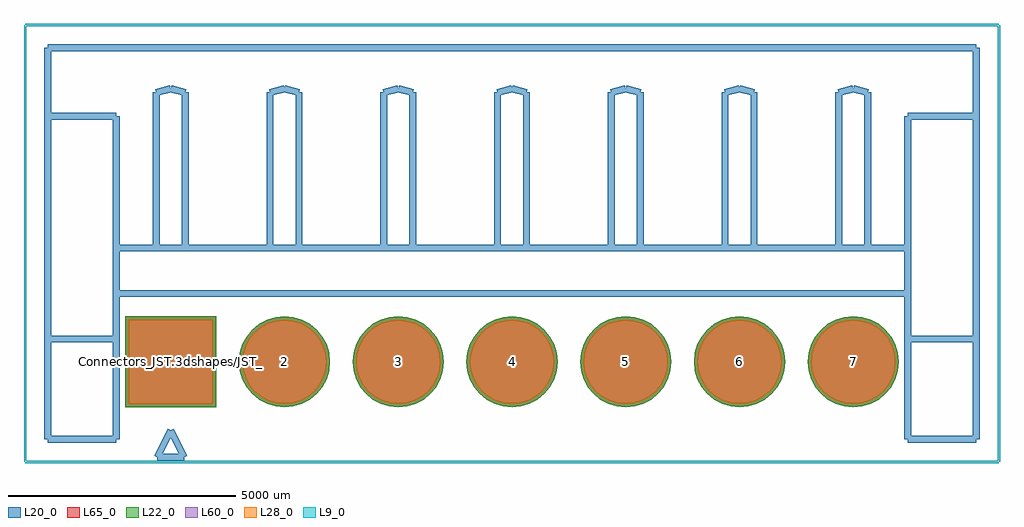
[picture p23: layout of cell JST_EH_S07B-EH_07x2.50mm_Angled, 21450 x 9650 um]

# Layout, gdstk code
import gdstk
lib = gdstk.Library(unit=1e-6, precision=1e-09)
def R(c, l, rs):  # rectangles x0, y0, x1, y1
    for r in rs: c.add(gdstk.rectangle(r[:2], r[2:], *l))
def P(c, l, *ps):  # polygons
    for p in ps: c.add(gdstk.Polygon(p, *l))
L9_0 = (9, 0)
L20_0 = (20, 0)
L22_0 = (22, 0)
L28_0 = (28, 0)
L60_0 = (60, 0)
L65_0 = (65, 0)

jst_eh_s07b_eh_07x2_50mm = lib.new_cell('JST_EH_S07B-EH_07x2.50mm_Angled')
R(jst_eh_s07b_eh_07x2_50mm, L22_0, [(-1000,-1000,1000,1000)])
P(jst_eh_s07b_eh_07x2_50mm, L22_0, [(16000,0),(15980.785,195.09),(15923.88,382.683),(15831.47,555.57),(15707.107,707.107),(15555.57,831.47),(15382.683,923.88),(15195.09,980.785),(15000,1000),(14804.91,980.785),(14617.317,923.88),(14444.43,831.47),(14292.893,707.107),(14168.53,555.57),(14076.12,382.683),(14019.215,195.09),(14000,0),(14019.215,-195.09),(14076.12,-382.683),(14168.53,-555.57),(14292.893,-707.107),(14444.43,-831.47),(14617.317,-923.88),(14804.91,-980.785),(15000,-1000),(15195.09,-980.785),(15382.683,-923.88),(15555.57,-831.47),(15707.107,-707.107),(15831.47,-555.57),(15923.88,-382.683),(15980.785,-195.09)],
  [(13500,0),(13480.785,195.09),(13423.88,382.683),(13331.47,555.57),(13207.107,707.107),(13055.57,831.47),(12882.683,923.88),(12695.09,980.785),(12500,1000),(12304.91,980.785),(12117.317,923.88),(11944.43,831.47),(11792.893,707.107),(11668.53,555.57),(11576.12,382.683),(11519.215,195.09),(11500,0),(11519.215,-195.09),(11576.12,-382.683),(11668.53,-555.57),(11792.893,-707.107),(11944.43,-831.47),(12117.317,-923.88),(12304.91,-980.785),(12500,-1000),(12695.09,-980.785),(12882.683,-923.88),(13055.57,-831.47),(13207.107,-707.107),(13331.47,-555.57),(13423.88,-382.683),(13480.785,-195.09)],
  [(11000,0),(10980.785,195.09),(10923.88,382.683),(10831.47,555.57),(10707.107,707.107),(10555.57,831.47),(10382.683,923.88),(10195.09,980.785),(10000,1000),(9804.91,980.785),(9617.317,923.88),(9444.43,831.47),(9292.893,707.107),(9168.53,555.57),(9076.12,382.683),(9019.215,195.09),(9000,0),(9019.215,-195.09),(9076.12,-382.683),(9168.53,-555.57),(9292.893,-707.107),(9444.43,-831.47),(9617.317,-923.88),(9804.91,-980.785),(10000,-1000),(10195.09,-980.785),(10382.683,-923.88),(10555.57,-831.47),(10707.107,-707.107),(10831.47,-555.57),(10923.88,-382.683),(10980.785,-195.09)],
  [(8500,0),(8480.785,195.09),(8423.88,382.683),(8331.47,555.57),(8207.107,707.107),(8055.57,831.47),(7882.683,923.88),(7695.09,980.785),(7500,1000),(7304.91,980.785),(7117.317,923.88),(6944.43,831.47),(6792.893,707.107),(6668.53,555.57),(6576.12,382.683),(6519.215,195.09),(6500,0),(6519.215,-195.09),(6576.12,-382.683),(6668.53,-555.57),(6792.893,-707.107),(6944.43,-831.47),(7117.317,-923.88),(7304.91,-980.785),(7500,-1000),(7695.09,-980.785),(7882.683,-923.88),(8055.57,-831.47),(8207.107,-707.107),(8331.47,-555.57),(8423.88,-382.683),(8480.785,-195.09)],
  [(6000,0),(5980.785,195.09),(5923.88,382.683),(5831.47,555.57),(5707.107,707.107),(5555.57,831.47),(5382.683,923.88),(5195.09,980.785),(5000,1000),(4804.91,980.785),(4617.317,923.88),(4444.43,831.47),(4292.893,707.107),(4168.53,555.57),(4076.12,382.683),(4019.215,195.09),(4000,0),(4019.215,-195.09),(4076.12,-382.683),(4168.53,-555.57),(4292.893,-707.107),(4444.43,-831.47),(4617.317,-923.88),(4804.91,-980.785),(5000,-1000),(5195.09,-980.785),(5382.683,-923.88),(5555.57,-831.47),(5707.107,-707.107),(5831.47,-555.57),(5923.88,-382.683),(5980.785,-195.09)],
  [(3500,0),(3480.785,195.09),(3423.88,382.683),(3331.47,555.57),(3207.107,707.107),(3055.57,831.47),(2882.683,923.88),(2695.09,980.785),(2500,1000),(2304.91,980.785),(2117.317,923.88),(1944.43,831.47),(1792.893,707.107),(1668.53,555.57),(1576.12,382.683),(1519.215,195.09),(1500,0),(1519.215,-195.09),(1576.12,-382.683),(1668.53,-555.57),(1792.893,-707.107),(1944.43,-831.47),(2117.317,-923.88),(2304.91,-980.785),(2500,-1000),(2695.09,-980.785),(2882.683,-923.88),(3055.57,-831.47),(3207.107,-707.107),(3331.47,-555.57),(3423.88,-382.683),(3480.785,-195.09)])
R(jst_eh_s07b_eh_07x2_50mm, L28_0, [(-925,-925,925,925)])
P(jst_eh_s07b_eh_07x2_50mm, L28_0, [(15925,0),(15907.226,180.459),(15854.589,353.982),(15769.109,513.902),(15654.074,654.074),(15513.902,769.109),(15353.982,854.589),(15180.459,907.226),(15000,925),(14819.541,907.226),(14646.018,854.589),(14486.098,769.109),(14345.926,654.074),(14230.891,513.902),(14145.411,353.982),(14092.774,180.459),(14075,0),(14092.774,-180.459),(14145.411,-353.982),(14230.891,-513.902),(14345.926,-654.074),(14486.098,-769.109),(14646.018,-854.589),(14819.541,-907.226),(15000,-925),(15180.459,-907.226),(15353.982,-854.589),(15513.902,-769.109),(15654.074,-654.074),(15769.109,-513.902),(15854.589,-353.982),(15907.226,-180.459)],
  [(13425,0),(13407.226,180.459),(13354.589,353.982),(13269.109,513.902),(13154.074,654.074),(13013.902,769.109),(12853.982,854.589),(12680.459,907.226),(12500,925),(12319.541,907.226),(12146.018,854.589),(11986.098,769.109),(11845.926,654.074),(11730.891,513.902),(11645.411,353.982),(11592.774,180.459),(11575,0),(11592.774,-180.459),(11645.411,-353.982),(11730.891,-513.902),(11845.926,-654.074),(11986.098,-769.109),(12146.018,-854.589),(12319.541,-907.226),(12500,-925),(12680.459,-907.226),(12853.982,-854.589),(13013.902,-769.109),(13154.074,-654.074),(13269.109,-513.902),(13354.589,-353.982),(13407.226,-180.459)],
  [(10925,0),(10907.226,180.459),(10854.589,353.982),(10769.109,513.902),(10654.074,654.074),(10513.902,769.109),(10353.982,854.589),(10180.459,907.226),(10000,925),(9819.541,907.226),(9646.018,854.589),(9486.098,769.109),(9345.926,654.074),(9230.891,513.902),(9145.411,353.982),(9092.774,180.459),(9075,0),(9092.774,-180.459),(9145.411,-353.982),(9230.891,-513.902),(9345.926,-654.074),(9486.098,-769.109),(9646.018,-854.589),(9819.541,-907.226),(10000,-925),(10180.459,-907.226),(10353.982,-854.589),(10513.902,-769.109),(10654.074,-654.074),(10769.109,-513.902),(10854.589,-353.982),(10907.226,-180.459)],
  [(8425,0),(8407.226,180.459),(8354.589,353.982),(8269.109,513.902),(8154.074,654.074),(8013.902,769.109),(7853.982,854.589),(7680.459,907.226),(7500,925),(7319.541,907.226),(7146.018,854.589),(6986.098,769.109),(6845.926,654.074),(6730.891,513.902),(6645.411,353.982),(6592.774,180.459),(6575,0),(6592.774,-180.459),(6645.411,-353.982),(6730.891,-513.902),(6845.926,-654.074),(6986.098,-769.109),(7146.018,-854.589),(7319.541,-907.226),(7500,-925),(7680.459,-907.226),(7853.982,-854.589),(8013.902,-769.109),(8154.074,-654.074),(8269.109,-513.902),(8354.589,-353.982),(8407.226,-180.459)],
  [(5925,0),(5907.226,180.459),(5854.589,353.982),(5769.109,513.902),(5654.074,654.074),(5513.902,769.109),(5353.982,854.589),(5180.459,907.226),(5000,925),(4819.541,907.226),(4646.018,854.589),(4486.098,769.109),(4345.926,654.074),(4230.891,513.902),(4145.411,353.982),(4092.774,180.459),(4075,0),(4092.774,-180.459),(4145.411,-353.982),(4230.891,-513.902),(4345.926,-654.074),(4486.098,-769.109),(4646.018,-854.589),(4819.541,-907.226),(5000,-925),(5180.459,-907.226),(5353.982,-854.589),(5513.902,-769.109),(5654.074,-654.074),(5769.109,-513.902),(5854.589,-353.982),(5907.226,-180.459)],
  [(3425,0),(3407.226,180.459),(3354.589,353.982),(3269.109,513.902),(3154.074,654.074),(3013.902,769.109),(2853.982,854.589),(2680.459,907.226),(2500,925),(2319.541,907.226),(2146.018,854.589),(1986.098,769.109),(1845.926,654.074),(1730.891,513.902),(1645.411,353.982),(1592.774,180.459),(1575,0),(1592.774,-180.459),(1645.411,-353.982),(1730.891,-513.902),(1845.926,-654.074),(1986.098,-769.109),(2146.018,-854.589),(2319.541,-907.226),(2500,-925),(2680.459,-907.226),(2853.982,-854.589),(3013.902,-769.109),(3154.074,-654.074),(3269.109,-513.902),(3354.589,-353.982),(3407.226,-180.459)])
R(jst_eh_s07b_eh_07x2_50mm, L60_0, [(-925,-925,925,925)])
P(jst_eh_s07b_eh_07x2_50mm, L60_0, [(15925,0),(15907.226,180.459),(15854.589,353.982),(15769.109,513.902),(15654.074,654.074),(15513.902,769.109),(15353.982,854.589),(15180.459,907.226),(15000,925),(14819.541,907.226),(14646.018,854.589),(14486.098,769.109),(14345.926,654.074),(14230.891,513.902),(14145.411,353.982),(14092.774,180.459),(14075,0),(14092.774,-180.459),(14145.411,-353.982),(14230.891,-513.902),(14345.926,-654.074),(14486.098,-769.109),(14646.018,-854.589),(14819.541,-907.226),(15000,-925),(15180.459,-907.226),(15353.982,-854.589),(15513.902,-769.109),(15654.074,-654.074),(15769.109,-513.902),(15854.589,-353.982),(15907.226,-180.459)],
  [(13425,0),(13407.226,180.459),(13354.589,353.982),(13269.109,513.902),(13154.074,654.074),(13013.902,769.109),(12853.982,854.589),(12680.459,907.226),(12500,925),(12319.541,907.226),(12146.018,854.589),(11986.098,769.109),(11845.926,654.074),(11730.891,513.902),(11645.411,353.982),(11592.774,180.459),(11575,0),(11592.774,-180.459),(11645.411,-353.982),(11730.891,-513.902),(11845.926,-654.074),(11986.098,-769.109),(12146.018,-854.589),(12319.541,-907.226),(12500,-925),(12680.459,-907.226),(12853.982,-854.589),(13013.902,-769.109),(13154.074,-654.074),(13269.109,-513.902),(13354.589,-353.982),(13407.226,-180.459)],
  [(10925,0),(10907.226,180.459),(10854.589,353.982),(10769.109,513.902),(10654.074,654.074),(10513.902,769.109),(10353.982,854.589),(10180.459,907.226),(10000,925),(9819.541,907.226),(9646.018,854.589),(9486.098,769.109),(9345.926,654.074),(9230.891,513.902),(9145.411,353.982),(9092.774,180.459),(9075,0),(9092.774,-180.459),(9145.411,-353.982),(9230.891,-513.902),(9345.926,-654.074),(9486.098,-769.109),(9646.018,-854.589),(9819.541,-907.226),(10000,-925),(10180.459,-907.226),(10353.982,-854.589),(10513.902,-769.109),(10654.074,-654.074),(10769.109,-513.902),(10854.589,-353.982),(10907.226,-180.459)],
  [(8425,0),(8407.226,180.459),(8354.589,353.982),(8269.109,513.902),(8154.074,654.074),(8013.902,769.109),(7853.982,854.589),(7680.459,907.226),(7500,925),(7319.541,907.226),(7146.018,854.589),(6986.098,769.109),(6845.926,654.074),(6730.891,513.902),(6645.411,353.982),(6592.774,180.459),(6575,0),(6592.774,-180.459),(6645.411,-353.982),(6730.891,-513.902),(6845.926,-654.074),(6986.098,-769.109),(7146.018,-854.589),(7319.541,-907.226),(7500,-925),(7680.459,-907.226),(7853.982,-854.589),(8013.902,-769.109),(8154.074,-654.074),(8269.109,-513.902),(8354.589,-353.982),(8407.226,-180.459)],
  [(5925,0),(5907.226,180.459),(5854.589,353.982),(5769.109,513.902),(5654.074,654.074),(5513.902,769.109),(5353.982,854.589),(5180.459,907.226),(5000,925),(4819.541,907.226),(4646.018,854.589),(4486.098,769.109),(4345.926,654.074),(4230.891,513.902),(4145.411,353.982),(4092.774,180.459),(4075,0),(4092.774,-180.459),(4145.411,-353.982),(4230.891,-513.902),(4345.926,-654.074),(4486.098,-769.109),(4646.018,-854.589),(4819.541,-907.226),(5000,-925),(5180.459,-907.226),(5353.982,-854.589),(5513.902,-769.109),(5654.074,-654.074),(5769.109,-513.902),(5854.589,-353.982),(5907.226,-180.459)],
  [(3425,0),(3407.226,180.459),(3354.589,353.982),(3269.109,513.902),(3154.074,654.074),(3013.902,769.109),(2853.982,854.589),(2680.459,907.226),(2500,925),(2319.541,907.226),(2146.018,854.589),(1986.098,769.109),(1845.926,654.074),(1730.891,513.902),(1645.411,353.982),(1592.774,180.459),(1575,0),(1592.774,-180.459),(1645.411,-353.982),(1730.891,-513.902),(1845.926,-654.074),(1986.098,-769.109),(2146.018,-854.589),(2319.541,-907.226),(2500,-925),(2680.459,-907.226),(2853.982,-854.589),(3013.902,-769.109),(3154.074,-654.074),(3269.109,-513.902),(3354.589,-353.982),(3407.226,-180.459)])
R(jst_eh_s07b_eh_07x2_50mm, L65_0, [(-1000,-1000,1000,1000)])
P(jst_eh_s07b_eh_07x2_50mm, L65_0, [(16000,0),(15980.785,195.09),(15923.88,382.683),(15831.47,555.57),(15707.107,707.107),(15555.57,831.47),(15382.683,923.88),(15195.09,980.785),(15000,1000),(14804.91,980.785),(14617.317,923.88),(14444.43,831.47),(14292.893,707.107),(14168.53,555.57),(14076.12,382.683),(14019.215,195.09),(14000,0),(14019.215,-195.09),(14076.12,-382.683),(14168.53,-555.57),(14292.893,-707.107),(14444.43,-831.47),(14617.317,-923.88),(14804.91,-980.785),(15000,-1000),(15195.09,-980.785),(15382.683,-923.88),(15555.57,-831.47),(15707.107,-707.107),(15831.47,-555.57),(15923.88,-382.683),(15980.785,-195.09)],
  [(13500,0),(13480.785,195.09),(13423.88,382.683),(13331.47,555.57),(13207.107,707.107),(13055.57,831.47),(12882.683,923.88),(12695.09,980.785),(12500,1000),(12304.91,980.785),(12117.317,923.88),(11944.43,831.47),(11792.893,707.107),(11668.53,555.57),(11576.12,382.683),(11519.215,195.09),(11500,0),(11519.215,-195.09),(11576.12,-382.683),(11668.53,-555.57),(11792.893,-707.107),(11944.43,-831.47),(12117.317,-923.88),(12304.91,-980.785),(12500,-1000),(12695.09,-980.785),(12882.683,-923.88),(13055.57,-831.47),(13207.107,-707.107),(13331.47,-555.57),(13423.88,-382.683),(13480.785,-195.09)],
  [(11000,0),(10980.785,195.09),(10923.88,382.683),(10831.47,555.57),(10707.107,707.107),(10555.57,831.47),(10382.683,923.88),(10195.09,980.785),(10000,1000),(9804.91,980.785),(9617.317,923.88),(9444.43,831.47),(9292.893,707.107),(9168.53,555.57),(9076.12,382.683),(9019.215,195.09),(9000,0),(9019.215,-195.09),(9076.12,-382.683),(9168.53,-555.57),(9292.893,-707.107),(9444.43,-831.47),(9617.317,-923.88),(9804.91,-980.785),(10000,-1000),(10195.09,-980.785),(10382.683,-923.88),(10555.57,-831.47),(10707.107,-707.107),(10831.47,-555.57),(10923.88,-382.683),(10980.785,-195.09)],
  [(8500,0),(8480.785,195.09),(8423.88,382.683),(8331.47,555.57),(8207.107,707.107),(8055.57,831.47),(7882.683,923.88),(7695.09,980.785),(7500,1000),(7304.91,980.785),(7117.317,923.88),(6944.43,831.47),(6792.893,707.107),(6668.53,555.57),(6576.12,382.683),(6519.215,195.09),(6500,0),(6519.215,-195.09),(6576.12,-382.683),(6668.53,-555.57),(6792.893,-707.107),(6944.43,-831.47),(7117.317,-923.88),(7304.91,-980.785),(7500,-1000),(7695.09,-980.785),(7882.683,-923.88),(8055.57,-831.47),(8207.107,-707.107),(8331.47,-555.57),(8423.88,-382.683),(8480.785,-195.09)],
  [(6000,0),(5980.785,195.09),(5923.88,382.683),(5831.47,555.57),(5707.107,707.107),(5555.57,831.47),(5382.683,923.88),(5195.09,980.785),(5000,1000),(4804.91,980.785),(4617.317,923.88),(4444.43,831.47),(4292.893,707.107),(4168.53,555.57),(4076.12,382.683),(4019.215,195.09),(4000,0),(4019.215,-195.09),(4076.12,-382.683),(4168.53,-555.57),(4292.893,-707.107),(4444.43,-831.47),(4617.317,-923.88),(4804.91,-980.785),(5000,-1000),(5195.09,-980.785),(5382.683,-923.88),(5555.57,-831.47),(5707.107,-707.107),(5831.47,-555.57),(5923.88,-382.683),(5980.785,-195.09)],
  [(3500,0),(3480.785,195.09),(3423.88,382.683),(3331.47,555.57),(3207.107,707.107),(3055.57,831.47),(2882.683,923.88),(2695.09,980.785),(2500,1000),(2304.91,980.785),(2117.317,923.88),(1944.43,831.47),(1792.893,707.107),(1668.53,555.57),(1576.12,382.683),(1519.215,195.09),(1500,0),(1519.215,-195.09),(1576.12,-382.683),(1668.53,-555.57),(1792.893,-707.107),(1944.43,-831.47),(2117.317,-923.88),(2304.91,-980.785),(2500,-1000),(2695.09,-980.785),(2882.683,-923.88),(3055.57,-831.47),(3207.107,-707.107),(3331.47,-555.57),(3423.88,-382.683),(3480.785,-195.09)])
jst_eh_s07b_eh_07x2_50mm.add(gdstk.FlexPath([(18200,7400),(-3200,7400)], 50, ends="flush", simple_path=True, layer=9, datatype=0))  # L9_0
jst_eh_s07b_eh_07x2_50mm.add(gdstk.FlexPath([(18200,-2200),(18200,7400)], 50, ends="flush", simple_path=True, layer=9, datatype=0))  # L9_0
jst_eh_s07b_eh_07x2_50mm.add(gdstk.FlexPath([(-3200,-2200),(18200,-2200)], 50, ends="flush", simple_path=True, layer=9, datatype=0))  # L9_0
jst_eh_s07b_eh_07x2_50mm.add(gdstk.FlexPath([(-3200,7400),(-3200,-2200)], 50, ends="flush", simple_path=True, layer=9, datatype=0))  # L9_0
jst_eh_s07b_eh_07x2_50mm.add(gdstk.FlexPath([(300,-2100),(0,-1500)], 149.998, ends="flush", simple_path=True, layer=20, datatype=0))  # L20_0
jst_eh_s07b_eh_07x2_50mm.add(gdstk.FlexPath([(-300,-2100),(300,-2100)], 149.998, ends="flush", simple_path=True, layer=20, datatype=0))  # L20_0
jst_eh_s07b_eh_07x2_50mm.add(gdstk.FlexPath([(0,-1500),(-300,-2100)], 149.998, ends="flush", simple_path=True, layer=20, datatype=0))  # L20_0
jst_eh_s07b_eh_07x2_50mm.add(gdstk.FlexPath([(15320,2500),(15000,2500)], 149.998, ends="flush", simple_path=True, layer=20, datatype=0))  # L20_0
jst_eh_s07b_eh_07x2_50mm.add(gdstk.FlexPath([(15320,5920),(15320,2500)], 149.998, ends="flush", simple_path=True, layer=20, datatype=0))  # L20_0
jst_eh_s07b_eh_07x2_50mm.add(gdstk.FlexPath([(15000,6000),(15320,5920)], 149.998, ends="flush", simple_path=True, layer=20, datatype=0))  # L20_0
jst_eh_s07b_eh_07x2_50mm.add(gdstk.FlexPath([(14680,5920),(15000,6000)], 149.998, ends="flush", simple_path=True, layer=20, datatype=0))  # L20_0
jst_eh_s07b_eh_07x2_50mm.add(gdstk.FlexPath([(14680,2500),(14680,5920)], 149.998, ends="flush", simple_path=True, layer=20, datatype=0))  # L20_0
jst_eh_s07b_eh_07x2_50mm.add(gdstk.FlexPath([(15000,2500),(14680,2500)], 149.998, ends="flush", simple_path=True, layer=20, datatype=0))  # L20_0
jst_eh_s07b_eh_07x2_50mm.add(gdstk.FlexPath([(12820,2500),(12500,2500)], 149.998, ends="flush", simple_path=True, layer=20, datatype=0))  # L20_0
jst_eh_s07b_eh_07x2_50mm.add(gdstk.FlexPath([(12820,5920),(12820,2500)], 149.998, ends="flush", simple_path=True, layer=20, datatype=0))  # L20_0
jst_eh_s07b_eh_07x2_50mm.add(gdstk.FlexPath([(12500,6000),(12820,5920)], 149.998, ends="flush", simple_path=True, layer=20, datatype=0))  # L20_0
jst_eh_s07b_eh_07x2_50mm.add(gdstk.FlexPath([(12180,5920),(12500,6000)], 149.998, ends="flush", simple_path=True, layer=20, datatype=0))  # L20_0
jst_eh_s07b_eh_07x2_50mm.add(gdstk.FlexPath([(12180,2500),(12180,5920)], 149.998, ends="flush", simple_path=True, layer=20, datatype=0))  # L20_0
jst_eh_s07b_eh_07x2_50mm.add(gdstk.FlexPath([(12500,2500),(12180,2500)], 149.998, ends="flush", simple_path=True, layer=20, datatype=0))  # L20_0
jst_eh_s07b_eh_07x2_50mm.add(gdstk.FlexPath([(10320,2500),(10000,2500)], 149.998, ends="flush", simple_path=True, layer=20, datatype=0))  # L20_0
jst_eh_s07b_eh_07x2_50mm.add(gdstk.FlexPath([(10320,5920),(10320,2500)], 149.998, ends="flush", simple_path=True, layer=20, datatype=0))  # L20_0
jst_eh_s07b_eh_07x2_50mm.add(gdstk.FlexPath([(10000,6000),(10320,5920)], 149.998, ends="flush", simple_path=True, layer=20, datatype=0))  # L20_0
jst_eh_s07b_eh_07x2_50mm.add(gdstk.FlexPath([(9680,5920),(10000,6000)], 149.998, ends="flush", simple_path=True, layer=20, datatype=0))  # L20_0
jst_eh_s07b_eh_07x2_50mm.add(gdstk.FlexPath([(9680,2500),(9680,5920)], 149.998, ends="flush", simple_path=True, layer=20, datatype=0))  # L20_0
jst_eh_s07b_eh_07x2_50mm.add(gdstk.FlexPath([(10000,2500),(9680,2500)], 149.998, ends="flush", simple_path=True, layer=20, datatype=0))  # L20_0
jst_eh_s07b_eh_07x2_50mm.add(gdstk.FlexPath([(7820,2500),(7500,2500)], 149.998, ends="flush", simple_path=True, layer=20, datatype=0))  # L20_0
jst_eh_s07b_eh_07x2_50mm.add(gdstk.FlexPath([(7820,5920),(7820,2500)], 149.998, ends="flush", simple_path=True, layer=20, datatype=0))  # L20_0
jst_eh_s07b_eh_07x2_50mm.add(gdstk.FlexPath([(7500,6000),(7820,5920)], 149.998, ends="flush", simple_path=True, layer=20, datatype=0))  # L20_0
jst_eh_s07b_eh_07x2_50mm.add(gdstk.FlexPath([(7180,5920),(7500,6000)], 149.998, ends="flush", simple_path=True, layer=20, datatype=0))  # L20_0
jst_eh_s07b_eh_07x2_50mm.add(gdstk.FlexPath([(7180,2500),(7180,5920)], 149.998, ends="flush", simple_path=True, layer=20, datatype=0))  # L20_0
jst_eh_s07b_eh_07x2_50mm.add(gdstk.FlexPath([(7500,2500),(7180,2500)], 149.998, ends="flush", simple_path=True, layer=20, datatype=0))  # L20_0
jst_eh_s07b_eh_07x2_50mm.add(gdstk.FlexPath([(5320,2500),(5000,2500)], 149.998, ends="flush", simple_path=True, layer=20, datatype=0))  # L20_0
jst_eh_s07b_eh_07x2_50mm.add(gdstk.FlexPath([(5320,5920),(5320,2500)], 149.998, ends="flush", simple_path=True, layer=20, datatype=0))  # L20_0
jst_eh_s07b_eh_07x2_50mm.add(gdstk.FlexPath([(5000,6000),(5320,5920)], 149.998, ends="flush", simple_path=True, layer=20, datatype=0))  # L20_0
jst_eh_s07b_eh_07x2_50mm.add(gdstk.FlexPath([(4680,5920),(5000,6000)], 149.998, ends="flush", simple_path=True, layer=20, datatype=0))  # L20_0
jst_eh_s07b_eh_07x2_50mm.add(gdstk.FlexPath([(4680,2500),(4680,5920)], 149.998, ends="flush", simple_path=True, layer=20, datatype=0))  # L20_0
jst_eh_s07b_eh_07x2_50mm.add(gdstk.FlexPath([(5000,2500),(4680,2500)], 149.998, ends="flush", simple_path=True, layer=20, datatype=0))  # L20_0
jst_eh_s07b_eh_07x2_50mm.add(gdstk.FlexPath([(2820,2500),(2500,2500)], 149.998, ends="flush", simple_path=True, layer=20, datatype=0))  # L20_0
jst_eh_s07b_eh_07x2_50mm.add(gdstk.FlexPath([(2820,5920),(2820,2500)], 149.998, ends="flush", simple_path=True, layer=20, datatype=0))  # L20_0
jst_eh_s07b_eh_07x2_50mm.add(gdstk.FlexPath([(2500,6000),(2820,5920)], 149.998, ends="flush", simple_path=True, layer=20, datatype=0))  # L20_0
jst_eh_s07b_eh_07x2_50mm.add(gdstk.FlexPath([(2180,5920),(2500,6000)], 149.998, ends="flush", simple_path=True, layer=20, datatype=0))  # L20_0
jst_eh_s07b_eh_07x2_50mm.add(gdstk.FlexPath([(2180,2500),(2180,5920)], 149.998, ends="flush", simple_path=True, layer=20, datatype=0))  # L20_0
jst_eh_s07b_eh_07x2_50mm.add(gdstk.FlexPath([(2500,2500),(2180,2500)], 149.998, ends="flush", simple_path=True, layer=20, datatype=0))  # L20_0
jst_eh_s07b_eh_07x2_50mm.add(gdstk.FlexPath([(320,2500),(0,2500)], 149.998, ends="flush", simple_path=True, layer=20, datatype=0))  # L20_0
jst_eh_s07b_eh_07x2_50mm.add(gdstk.FlexPath([(320,5920),(320,2500)], 149.998, ends="flush", simple_path=True, layer=20, datatype=0))  # L20_0
jst_eh_s07b_eh_07x2_50mm.add(gdstk.FlexPath([(0,6000),(320,5920)], 149.998, ends="flush", simple_path=True, layer=20, datatype=0))  # L20_0
jst_eh_s07b_eh_07x2_50mm.add(gdstk.FlexPath([(-320,5920),(0,6000)], 149.998, ends="flush", simple_path=True, layer=20, datatype=0))  # L20_0
jst_eh_s07b_eh_07x2_50mm.add(gdstk.FlexPath([(-320,2500),(-320,5920)], 149.998, ends="flush", simple_path=True, layer=20, datatype=0))  # L20_0
jst_eh_s07b_eh_07x2_50mm.add(gdstk.FlexPath([(0,2500),(-320,2500)], 149.998, ends="flush", simple_path=True, layer=20, datatype=0))  # L20_0
jst_eh_s07b_eh_07x2_50mm.add(gdstk.FlexPath([(-1200,1500),(16200,1500)], 149.998, ends="flush", simple_path=True, layer=20, datatype=0))  # L20_0
jst_eh_s07b_eh_07x2_50mm.add(gdstk.FlexPath([(-1200,2500),(16200,2500)], 149.998, ends="flush", simple_path=True, layer=20, datatype=0))  # L20_0
jst_eh_s07b_eh_07x2_50mm.add(gdstk.FlexPath([(16200,500),(17700,500)], 149.998, ends="flush", simple_path=True, layer=20, datatype=0))  # L20_0
jst_eh_s07b_eh_07x2_50mm.add(gdstk.FlexPath([(16200,5400),(16200,500)], 149.998, ends="flush", simple_path=True, layer=20, datatype=0))  # L20_0
jst_eh_s07b_eh_07x2_50mm.add(gdstk.FlexPath([(17700,5400),(16200,5400)], 149.998, ends="flush", simple_path=True, layer=20, datatype=0))  # L20_0
jst_eh_s07b_eh_07x2_50mm.add(gdstk.FlexPath([(-1200,500),(-2700,500)], 149.998, ends="flush", simple_path=True, layer=20, datatype=0))  # L20_0
jst_eh_s07b_eh_07x2_50mm.add(gdstk.FlexPath([(-1200,5400),(-1200,500)], 149.998, ends="flush", simple_path=True, layer=20, datatype=0))  # L20_0
jst_eh_s07b_eh_07x2_50mm.add(gdstk.FlexPath([(-2700,5400),(-1200,5400)], 149.998, ends="flush", simple_path=True, layer=20, datatype=0))  # L20_0
jst_eh_s07b_eh_07x2_50mm.add(gdstk.FlexPath([(16200,-1700),(16200,500)], 149.998, ends="flush", simple_path=True, layer=20, datatype=0))  # L20_0
jst_eh_s07b_eh_07x2_50mm.add(gdstk.FlexPath([(17700,-1700),(16200,-1700)], 149.998, ends="flush", simple_path=True, layer=20, datatype=0))  # L20_0
jst_eh_s07b_eh_07x2_50mm.add(gdstk.FlexPath([(17700,6900),(17700,-1700)], 149.998, ends="flush", simple_path=True, layer=20, datatype=0))  # L20_0
jst_eh_s07b_eh_07x2_50mm.add(gdstk.FlexPath([(-2700,6900),(17700,6900)], 149.998, ends="flush", simple_path=True, layer=20, datatype=0))  # L20_0
jst_eh_s07b_eh_07x2_50mm.add(gdstk.FlexPath([(-2700,-1700),(-2700,6900)], 149.998, ends="flush", simple_path=True, layer=20, datatype=0))  # L20_0
jst_eh_s07b_eh_07x2_50mm.add(gdstk.FlexPath([(-1200,-1700),(-2700,-1700)], 149.998, ends="flush", simple_path=True, layer=20, datatype=0))  # L20_0
jst_eh_s07b_eh_07x2_50mm.add(gdstk.FlexPath([(-1200,500),(-1200,-1700)], 149.998, ends="flush", simple_path=True, layer=20, datatype=0))  # L20_0
jst_eh_s07b_eh_07x2_50mm.add(gdstk.Label('Connectors_JST.3dshapes/JST_EH_S07B-EH_07x2.50mm_Angled.wrl', (0,0), layer=12, texttype=0))
jst_eh_s07b_eh_07x2_50mm.add(gdstk.Label('7', (15000,0), layer=28, texttype=0))
jst_eh_s07b_eh_07x2_50mm.add(gdstk.Label('6', (12500,0), layer=28, texttype=0))
jst_eh_s07b_eh_07x2_50mm.add(gdstk.Label('5', (10000,0), layer=28, texttype=0))
jst_eh_s07b_eh_07x2_50mm.add(gdstk.Label('4', (7500,0), layer=28, texttype=0))
jst_eh_s07b_eh_07x2_50mm.add(gdstk.Label('3', (5000,0), layer=28, texttype=0))
jst_eh_s07b_eh_07x2_50mm.add(gdstk.Label('2', (2500,0), layer=28, texttype=0))
jst_eh_s07b_eh_07x2_50mm.add(gdstk.Label('1', (0,0), layer=28, texttype=0))
jst_eh_s07b_eh_07x2_50mm.add(gdstk.Label('type', (0,-6000), layer=9, texttype=0))
jst_eh_s07b_eh_07x2_50mm.add(gdstk.Label('devicename', (0,-4000), layer=9, texttype=0))

lib.write_gds('JST_EH_S07B-EH_07x2.50mm_Angled.gds')
